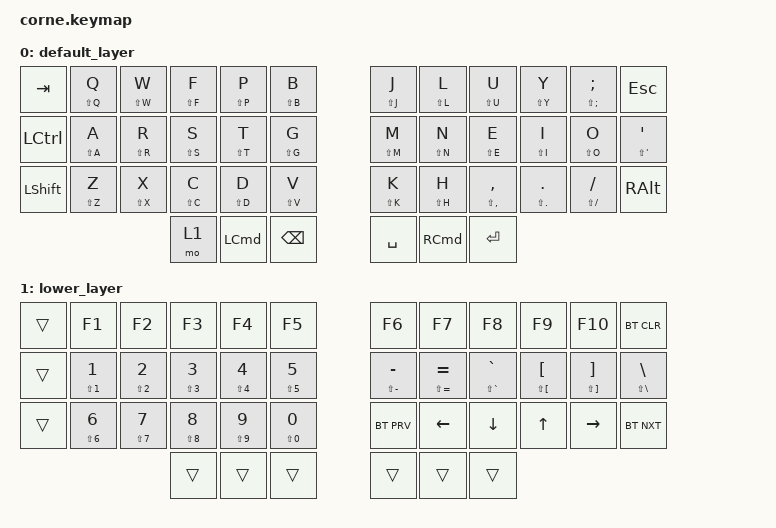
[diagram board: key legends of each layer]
/*
 * Copyright (c) 2020 The ZMK Contributors
 *
 * SPDX-License-Identifier: MIT
 */

#include <behaviors.dtsi>
#include <dt-bindings/zmk/keys.h>
#include <dt-bindings/zmk/bt.h>

/ {
    behaviors {
        as: as {
            compatible = "zmk,behavior-hold-tap";
            label = "AS";
            bindings =
                <&kp>,
                <&kp>;

            #binding-cells = <2>;
            flavor = "tap-preferred";
            tapping-term-ms = <135>;
            quick-tap-ms = <0>;
            hold-trigger-key-positions = <13 14 15 16 17 1 2 3 4 5 29 28 27 26 25 6 18 30 7 8 9 22 31 20 19 21 32 33 34 23 10>;
        };
    };

    keymap {
        compatible = "zmk,keymap";

        default_layer {
            // -----------------------------------------------------------------------------------------
            // |  TAB |  Q  |  W  |  E  |  R  |  T  |   |  Y  |  U   |  I  |  O  |  P  | BKSP |
            // | CTRL |  A  |  S  |  D  |  F  |  G  |   |  H  |  J   |  K  |  L  |  ;  |  '   |
            // | SHFT |  Z  |  X  |  C  |  V  |  B  |   |  N  |  M   |  ,  |  .  |  /  | ESC  |
            //                    | GUI | LWR | SPC |   | ENT | RSE  | ALT |

            bindings = <
  &kp TAB  &as LS(Q) Q  &as LS(W) W  &as LS(F) F       &as LS(P) P    &as LS(B) B    &as LS(J) J        &as LS(L) L          &as LS(U) U         &as LS(Y) Y  &as LS(SEMICOLON) SEMICOLON                &kp ESCAPE
&kp LCTRL  &as LS(A) A  &as LS(R) R  &as LS(S) S       &as LS(T) T    &as LS(G) G    &as LS(M) M        &as LS(N) N          &as LS(E) E         &as LS(I) I                  &as LS(O) O  &as LS(SQT) SINGLE_QUOTE
&kp LSHFT  &as LS(Z) Z  &as LS(X) X  &as LS(C) C       &as LS(D) D    &as LS(V) V    &as LS(K) K        &as LS(H) H  &as LS(COMMA) COMMA  &as LS(DOT) PERIOD           &as LS(FSLH) SLASH             &kp RIGHT_ALT
                                           &mo 1  &kp LEFT_COMMAND  &kp BACKSPACE      &kp SPACE  &kp RIGHT_COMMAND           &kp RETURN
            >;
        };

        lower_layer {
            // -----------------------------------------------------------------------------------------
            // |  TAB |  1  |  2  |  3  |  4  |  5  |   |  6  |  7  |  8  |  9  |  0  | BKSP |
            // | BTCLR| BT1 | BT2 | BT3 | BT4 | BT5 |   | LFT | DWN |  UP | RGT |     |      |
            // | SHFT |     |     |     |     |     |   |     |     |     |     |     |      |
            //                    | GUI |     | SPC |   | ENT |     | ALT |

            bindings = <
&trans         &kp F1         &kp F2         &kp F3         &kp F4         &kp F5                 &kp F6               &kp F7               &kp F8                             &kp F9                              &kp F10                   &bt BT_CLR
&trans  &as LS(N1) N1  &as LS(N2) N2  &as LS(N3) N3  &as LS(N4) N4  &as LS(N5) N5    &as LS(MINUS) MINUS  &as LS(EQUAL) EQUAL  &as LS(GRAVE) GRAVE  &as LS(LEFT_BRACKET) LEFT_BRACKET  &as LS(RIGHT_BRACKET) RIGHT_BRACKET  &as LS(BACKSLASH) BACKSLASH
&trans  &as LS(N6) N6  &as LS(N7) N7  &as LS(N8) N8  &as LS(N9) N9  &as LS(N0) N0             &bt BT_PRV             &kp LEFT             &kp DOWN                             &kp UP                            &kp RIGHT                   &bt BT_NXT
                                             &trans         &trans         &trans                 &trans               &trans               &trans
            >;
        };
    };
};
